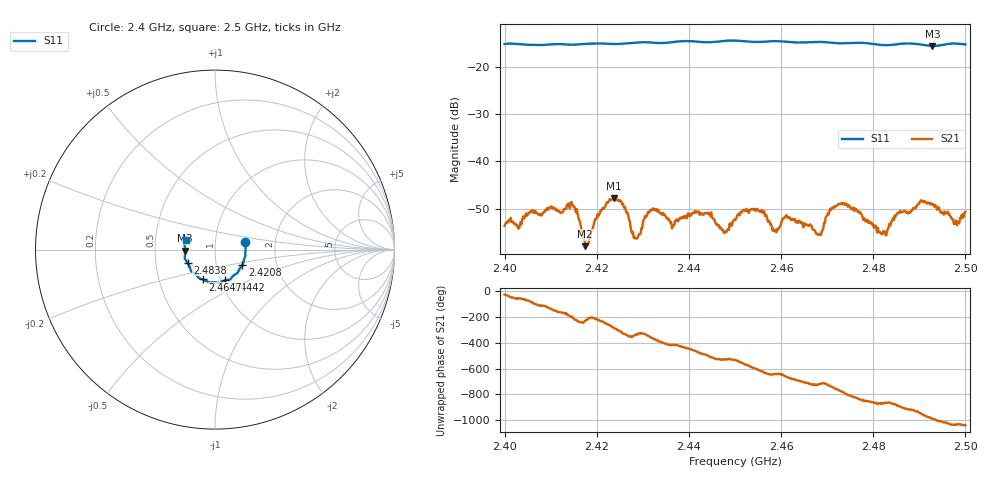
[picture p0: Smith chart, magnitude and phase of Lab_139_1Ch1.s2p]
# Hz S RI R 50
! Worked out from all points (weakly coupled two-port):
!   601 points, 2.4 GHz to 2.5 GHz, reference 50 ohm
!   highest |S21| = -47.84 dB at 2.4237 GHz (marker M1); lowest = -57.9 dB at 2.4175 GHz (marker M2)
!   lowest |S11| = -15.6 dB at 2.4928 GHz (marker M3), VSWR 1.40, Z = 35.8 - j0.39 ohm
!   |S11| at or under -10 dB: start of sweep to end of sweep
!   S12 and S22 are empty: the file has one direction only
!   S11 on the Smith chart (normalised r, x): 2.4 GHz: 1.40, +0.12; 2.4208 GHz: 1.33, -0.24; 2.4442 GHz: 1.05, -0.37; 2.4647 GHz: 0.83, -0.29; 2.4838 GHz: 0.73, -0.11; 2.5 GHz: 0.72, +0.08
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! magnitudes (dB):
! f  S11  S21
! 2.4 GHz  -15.2  -53.7
! 2.4143 GHz  -15.4  -48.7
! 2.4167 GHz  -15.2  -54.4
! 2.4175 GHz  -15.2  -57.9
! 2.4208 GHz  -15.1  -50.3
! 2.4237 GHz  -15.2  -47.8
! 2.4285 GHz  -14.9  -56.3
! 2.4333 GHz  -15.0  -50.3
! 2.4363 GHz  -14.8  -54.2
! 2.4442 GHz  -14.9  -51.2
! 2.4477 GHz  -14.6  -55.2
! 2.45 GHz  -14.5  -52.4
! 2.4543 GHz  -14.8  -50.1
! 2.4647 GHz  -14.9  -53.2
! 2.4667 GHz  -14.8  -53.8
! 2.4685 GHz  -14.8  -55.6
! 2.4732 GHz  -15.1  -48.8
! 2.4833 GHz  -15.5  -54.1
! 2.4838 GHz  -15.4  -53.2
! 2.4928 GHz  -15.6  -49.1
! 2.498 GHz  -15.1  -52.5
! 2.5 GHz  -15.3  -50.7
